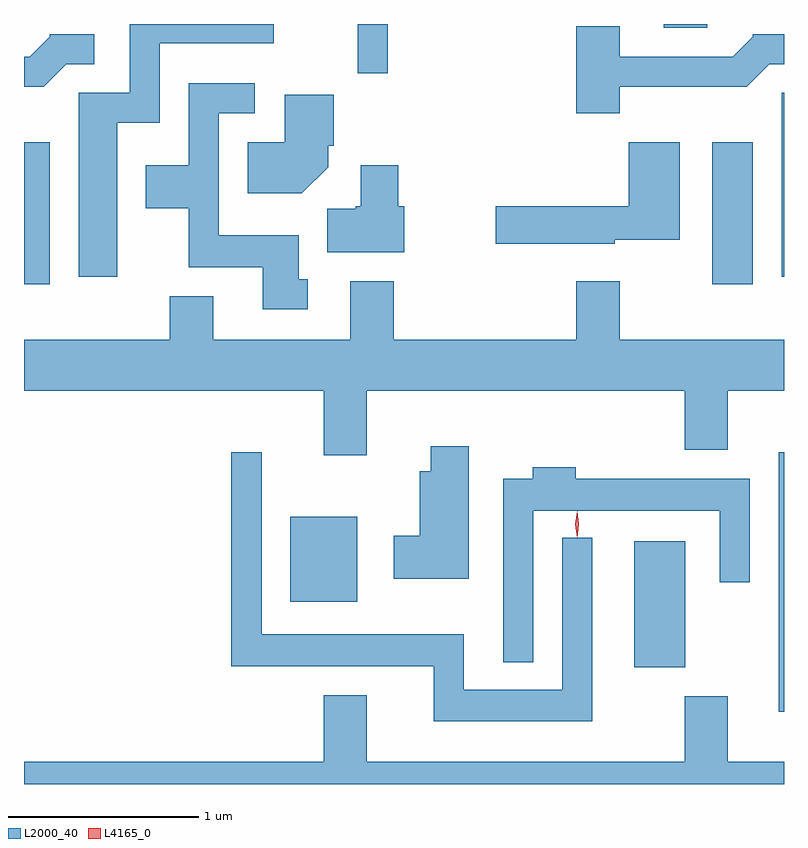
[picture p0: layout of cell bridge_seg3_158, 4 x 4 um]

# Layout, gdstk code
import gdstk
lib = gdstk.Library(unit=1e-6, precision=1e-09)
def R(c, l, rs):  # rectangles x0, y0, x1, y1
    for r in rs: c.add(gdstk.rectangle(r[:2], r[2:], *l))
def P(c, l, *ps):  # polygons
    for p in ps: c.add(gdstk.Polygon(p, *l))
L2000_40 = (2000, 40)
L4165_0 = (4165, 0)

bridge_seg3_158 = lib.new_cell('bridge_seg3_158')
R(bridge_seg3_158, L2000_40, [(885.346,1217.566,885.374,1218.933), (884.586,1217.801,884.854,1218.464), (882.776,1218.146,883.129,1218.594), (881.374,1219.816,881.509,1220.564), (884.996,1219.816,885.209,1220.564), (885.361,1219.856,885.374,1220.824), (883.131,1220.928,883.289,1221.187), (884.741,1221.166,884.969,1221.187)])
P(bridge_seg3_158, L2000_40, [(881.864,1220.666),(882.089,1220.666),(882.089,1221.086),(882.689,1221.086),(882.689,1221.187),(881.931,1221.187),(881.931,1220.824),(881.661,1220.824),(881.661,1219.856),(881.864,1219.856)],
  [(884.509,1220.856),(885.177,1220.856),(885.297,1220.976),(885.374,1220.976),(885.374,1221.134),(885.21,1221.134),(885.21,1221.121),(885.104,1221.014),(884.509,1221.014),(884.509,1221.174),(884.281,1221.174),(884.281,1220.716),(884.509,1220.716)],
  [(881.597,1220.976),(881.743,1220.976),(881.743,1221.134),(881.51,1221.134),(881.51,1221.121),(881.404,1221.014),(881.374,1221.014),(881.374,1220.856),(881.477,1220.856)],
  [(882.868,1219.844),(882.819,1219.844),(882.819,1220.074),(882.399,1220.074),(882.399,1220.716),(882.588,1220.716),(882.588,1220.874),(882.241,1220.874),(882.241,1220.444),(882.016,1220.444),(882.016,1220.216),(882.241,1220.216),(882.241,1219.906),(882.631,1219.906),(882.631,1219.686),(882.868,1219.686)],
  [(882.974,1220.434),(882.974,1220.546),(883.004,1220.546),(883.004,1220.814),(882.746,1220.814),(882.746,1220.564),(882.551,1220.564),(882.551,1220.296),(882.837,1220.296)],
  [(884.484,1220.051),(884.824,1220.051),(884.824,1220.564),(884.556,1220.564),(884.556,1220.229),(883.856,1220.229),(883.856,1220.031),(884.484,1220.031)],
  [(883.374,1220.229),(883.344,1220.229),(883.344,1220.444),(883.146,1220.444),(883.146,1220.229),(883.12,1220.229),(883.12,1220.214),(882.971,1220.214),(882.971,1219.986),(883.374,1219.986)],
  [(883.179,1219.256),(884.851,1219.256),(884.851,1218.946),(885.079,1218.946),(885.079,1219.256),(885.374,1219.256),(885.374,1219.524),(884.509,1219.524),(884.509,1219.834),(884.281,1219.834),(884.281,1219.524),(883.319,1219.524),(883.319,1219.834),(883.091,1219.834),(883.091,1219.524),(882.369,1219.524),(882.369,1219.754),(882.141,1219.754),(882.141,1219.524),(881.374,1219.524),(881.374,1219.256),(882.951,1219.256),(882.951,1218.916),(883.179,1218.916)],
  [(883.714,1218.964),(883.516,1218.964),(883.516,1218.834),(883.456,1218.834),(883.456,1218.494),(883.321,1218.494),(883.321,1218.266),(883.714,1218.266)],
  [(884.364,1218.483),(884.206,1218.483),(884.206,1217.684),(883.689,1217.684),(883.689,1217.974),(882.624,1217.974),(882.624,1218.933),(882.466,1218.933),(882.466,1217.806),(883.531,1217.806),(883.531,1217.516),(884.364,1217.516)],
  [(884.054,1218.626),(885.036,1218.626),(885.036,1218.248),(885.194,1218.248),(885.194,1218.794),(884.279,1218.794),(884.279,1218.854),(884.051,1218.854),(884.051,1218.794),(883.896,1218.794),(883.896,1217.828),(884.054,1217.828)],
  [(884.851,1217.649),(884.851,1217.304),(883.179,1217.304),(883.179,1217.654),(882.951,1217.654),(882.951,1217.304),(881.374,1217.304),(881.374,1217.187),(885.374,1217.187),(885.374,1217.304),(885.079,1217.304),(885.079,1217.649)])
P(bridge_seg3_158, L4165_0, [(884.285,1218.484),(884.285,1218.484),(884.275,1218.553),(884.285,1218.623),(884.285,1218.623),(884.286,1218.623),(884.295,1218.553),(884.286,1218.484)])

lib.write_gds('bridge_seg3_158.gds')
